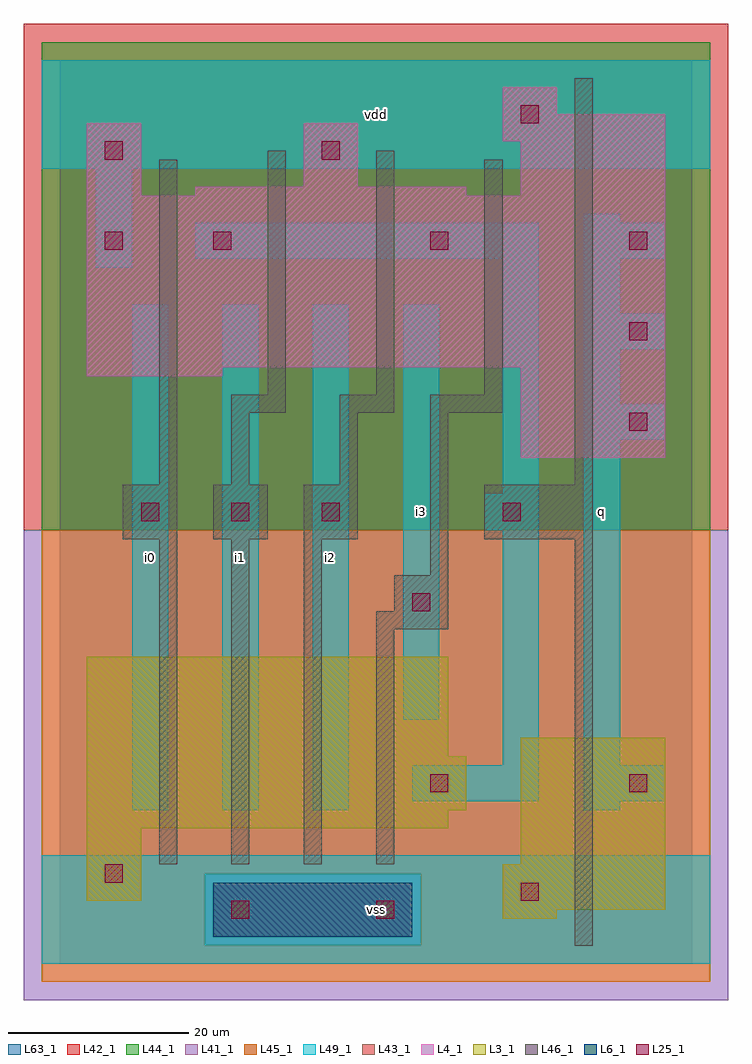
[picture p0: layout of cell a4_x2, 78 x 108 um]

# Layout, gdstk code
import gdstk
lib = gdstk.Library(unit=1e-6, precision=1e-09)
def R(c, l, rs):  # rectangles x0, y0, x1, y1
    for r in rs: c.add(gdstk.rectangle(r[:2], r[2:], *l))
def A(c, l, x, y, w, h, nx, ny, dx, dy):  # array of equal rectangles
    R(c, l, [(x+i*dx, y+j*dy, x+i*dx+w, y+j*dy+h) for i in range(nx) for j in range(ny)])
L3_1 = (3, 1)
L4_1 = (4, 1)
L6_1 = (6, 1)
L25_1 = (25, 1)
L41_1 = (41, 1)
L42_1 = (42, 1)
L43_1 = (43, 1)
L44_1 = (44, 1)
L45_1 = (45, 1)
L46_1 = (46, 1)
L49_1 = (49, 1)
L63_1 = (63, 1)

a4_x2 = lib.new_cell('a4_x2')
R(a4_x2, L3_1, [(49,5,55,6), (49,6,67,11), (3,7,9,15), (51,11,67,25), (3,15,43,17), (3,17,45,23), (3,23,43,34)])
R(a4_x2, L4_1, [(51,56,67,66), (3,65,18,66), (3,66,67,85), (3,85,9,93), (15,85,45,86), (51,85,67,91), (27,86,33,93), (49,91,67,94), (49,94,55,97)])
R(a4_x2, L6_1, [(17,3,39,9), (17,3,39,9)])
A(a4_x2, L25_1, 9, 49, 2, 2, 3, 1, 10, 0)
A(a4_x2, L25_1, 63, 59, 2, 2, 1, 3, 0, 10)
R(a4_x2, L25_1, [(19,5,21,7), (35,5,37,7), (51,7,53,9), (5,9,7,11), (41,19,43,21), (63,19,65,21), (39,39,41,41), (49,49,51,51), (5,79,7,81), (17,79,19,81), (41,79,43,81), (5,89,7,91), (29,89,31,91), (51,93,53,95)])
R(a4_x2, L41_1, [(-4,-4,74,48)])
R(a4_x2, L42_1, [(-4,48,74,104)])
R(a4_x2, L43_1, [(17,3,39,9), (49,5,55,6), (49,6,67,11), (3,7,9,15), (51,11,67,25), (3,15,43,17), (3,17,45,23), (3,23,43,34), (51,56,67,66), (3,65,18,66), (3,66,67,85), (3,85,9,93), (15,85,45,86), (51,85,67,91), (27,86,33,93), (49,91,67,94), (49,94,55,97)])
R(a4_x2, L44_1, [(16,2,40,10), (-2,48,72,102)])
R(a4_x2, L45_1, [(-2,-2,72,2), (-2,2,16,10), (40,2,72,10), (-2,10,72,48)])
A(a4_x2, L46_1, 11, 11, 2, 36, 3, 1, 8, 0)
A(a4_x2, L46_1, 7, 47, 6, 6, 3, 1, 10, 0)
R(a4_x2, L46_1, [(57,2,59,47), (35,11,37,37), (35,37,43,39), (37,39,43,43), (41,43,43,61), (47,47,59,53), (11,53,13,89), (19,53,21,61), (31,53,33,61), (57,53,59,98), (19,61,25,63), (31,61,37,63), (41,61,49,63), (23,63,25,90), (35,63,37,90), (47,63,49,89)])
A(a4_x2, L49_1, 8, 17, 4, 56, 3, 1, 10, 0)
A(a4_x2, L49_1, 58, 58, 9, 4, 1, 3, 0, 10)
R(a4_x2, L49_1, [(-2,0,72,12), (58,17,62,18), (39,18,53,22), (58,18,67,22), (49,22,53,48), (58,22,62,58), (38,27,42,73), (47,48,53,52), (49,52,53,78), (58,62,62,68), (58,72,62,78), (4,77,8,88), (15,78,53,82), (58,82,62,83), (-2,88,72,100)])
R(a4_x2, L63_1, [(0,0,70,100)])
a4_x2.add(gdstk.Label('i0', (10,45), layer=49, texttype=1))
a4_x2.add(gdstk.Label('i1', (20,45), layer=49, texttype=1))
a4_x2.add(gdstk.Label('i2', (30,45), layer=49, texttype=1))
a4_x2.add(gdstk.Label('vss', (35,6), layer=49, texttype=1))
a4_x2.add(gdstk.Label('i3', (40,50), layer=49, texttype=1))
a4_x2.add(gdstk.Label('vdd', (35,94), layer=49, texttype=1))
a4_x2.add(gdstk.Label('q', (60,50), layer=49, texttype=1))

lib.write_gds('a4_x2.gds')
